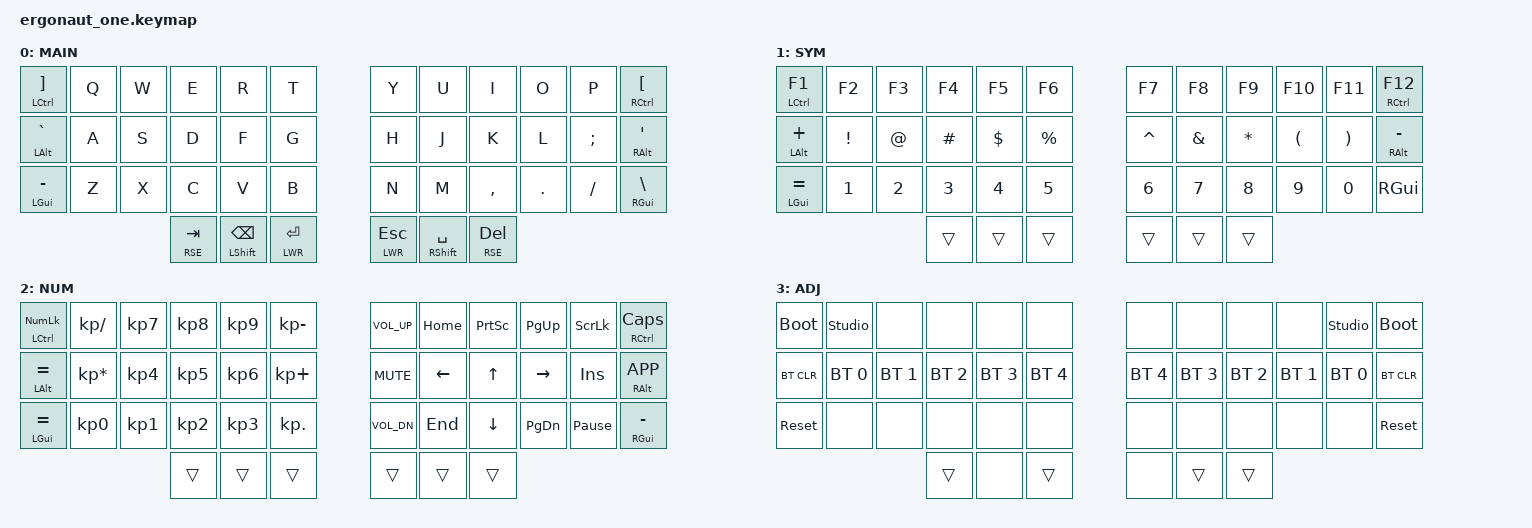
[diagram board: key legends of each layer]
#include <behaviors.dtsi>
#include <dt-bindings/zmk/bt.h>
#include <dt-bindings/zmk/keys.h>

#define DEF 0
#define LWR 1
#define RSE 2
#define ADJ 3

&lt { quick-tap-ms = <200>; };

&mt { quick-tap-ms = <200>; };

/ {
    conditional_layers {
        compatible = "zmk,conditional-layers";

        tri-layer {
            if-layers = <LWR RSE>;
            then-layer = <ADJ>;
        };
    };

    keymap {
        compatible = "zmk,keymap";

        default_layer {
            display-name = "MAIN";
            bindings = <
&mt LCTRL RBKT  &kp Q  &kp W  &kp E        &kp R                &kp T        &kp Y        &kp U            &kp I        &kp O    &kp P     &mt RCTRL LEFT_BRACKET
&mt LALT GRAVE  &kp A  &kp S  &kp D        &kp F                &kp G        &kp H        &kp J            &kp K        &kp L    &kp SEMI  &mt RALT SQT
&mt LGUI MINUS  &kp Z  &kp X  &kp C        &kp V                &kp B        &kp N        &kp M            &kp COMMA    &kp DOT  &kp FSLH  &mt RGUI BSLH
                              &lt RSE TAB  &mt LSHFT BACKSPACE  &lt LWR RET  &lt LWR ESC  &mt RSHFT SPACE  &lt RSE DEL
            >;
        };

        lower_layer {
            display-name = "SYM";
            bindings = <
&mt LCTRL F1    &kp F2    &kp F3  &kp F4    &kp F5    &kp F6     &kp F7     &kp F8    &kp F9    &kp F10   &kp F11   &mt RCTRL F12
&mt LALT PLUS   &kp EXCL  &kp AT  &kp HASH  &kp DLLR  &kp PRCNT  &kp CARET  &kp AMPS  &kp STAR  &kp LPAR  &kp RPAR  &mt RALT MINUS
&mt LGUI EQUAL  &kp N1    &kp N2  &kp N3    &kp N4    &kp N5     &kp N6     &kp N7    &kp N8    &kp N9    &kp N0    &kp RGUI
                                  &trans    &trans    &trans     &trans     &trans    &trans
            >;
        };

        raise_layer {
            display-name = "NUM";
            bindings = <
&mt LCTRL KP_NUM  &kp KP_SLASH     &kp KP_N7  &kp KP_N8  &kp KP_N9  &kp KP_MINUS  &kp C_VOL_UP  &kp HOME  &kp PSCRN  &kp PG_UP  &kp SLCK         &mt RCTRL CAPSLOCK
&mt LALT EQUAL    &kp KP_MULTIPLY  &kp KP_N4  &kp KP_N5  &kp KP_N6  &kp KP_PLUS   &kp C_MUTE    &kp LEFT  &kp UP     &kp RIGHT  &kp INS          &mt RALT K_APP
&mt LGUI EQUAL    &kp KP_N0        &kp KP_N1  &kp KP_N2  &kp KP_N3  &kp KP_DOT    &kp C_VOL_DN  &kp END   &kp DOWN   &kp PG_DN  &kp PAUSE_BREAK  &mt RGUI MINUS
                                              &trans     &trans     &trans        &trans        &trans    &trans
            >;
        };

        adjust_layer {
            display-name = "ADJ";
            bindings = <
&bootloader  &studio_unlock  &none         &none         &none         &none         &none         &none         &none         &none         &studio_unlock  &bootloader
&bt BT_CLR   &bt BT_SEL 0    &bt BT_SEL 1  &bt BT_SEL 2  &bt BT_SEL 3  &bt BT_SEL 4  &bt BT_SEL 4  &bt BT_SEL 3  &bt BT_SEL 2  &bt BT_SEL 1  &bt BT_SEL 0    &bt BT_CLR
&sys_reset   &none           &none         &none         &none         &none         &none         &none         &none         &none         &none           &sys_reset
                                           &trans        &none         &trans        &none         &trans        &trans
            >;
        };
    };
};
